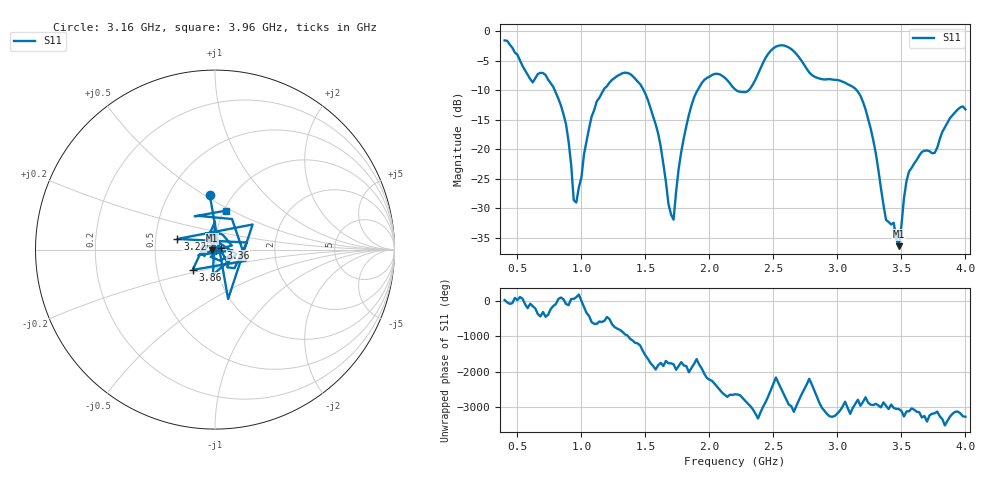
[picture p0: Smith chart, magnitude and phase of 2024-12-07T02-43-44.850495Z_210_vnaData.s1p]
!Created with skrf (http://scikit-rf.org).
# Hz S RI R 50.0
!freq ReS11 ImS11
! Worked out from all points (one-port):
!   181 points, 400 MHz to 4 GHz, reference 50 ohm
!   lowest |S11| = -36.4 dB at 3.48 GHz (marker M1), VSWR 1.03, Z = 48.5 - j0.358 ohm
!   |S11| at or under -10 dB: 791.9 MHz to 1.172 GHz (380.3 MHz wide, 38.7 % of centre); 1.486 GHz to 1.907 GHz (421 MHz wide, 24.8 % of centre); 3.151 GHz to end of sweep (the widest 3 of 4)
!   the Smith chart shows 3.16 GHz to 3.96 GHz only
!   S11 on the Smith chart (normalised r, x): 3.16 GHz: 0.78, +0.53; 3.22 GHz: 0.65, +0.08; 3.36 GHz: 1.07, +0.02; 3.86 GHz: 0.76, -0.18; 3.96 GHz: 1.03, +0.47
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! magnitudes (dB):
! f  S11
! 400 MHz  -1.6
! 620 MHz  -8.7
! 720 MHz  -7.4
! 860 MHz  -14.1
! 900 MHz  -18.7
! 940 MHz  -28.6
! 960 MHz  -29.0
! 1.12 GHz  -11.9
! 1.3 GHz  -7.4
! 1.52 GHz  -11.7
! 1.6 GHz  -17.3
! 1.72 GHz  -31.9
! 1.76 GHz  -23.3
! 1.84 GHz  -14.1
! 1.94 GHz  -8.8
! 2.2 GHz  -9.8
! 2.3 GHz  -10.2
! 2.52 GHz  -2.6
! 2.66 GHz  -3.4
! 3.1 GHz  -9.2
! 3.16 GHz  -10.2
! 3.22 GHz  -13.2
! 3.36 GHz  -29.4
! 3.48 GHz  -36.4
! 3.56 GHz  -23.7
! 3.86 GHz  -15.5
! 3.96 GHz  -12.9
! 4 GHz  -13.2
